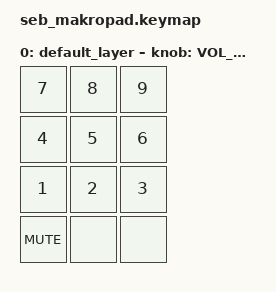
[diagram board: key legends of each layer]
#include <behaviors.dtsi>
#include <dt-bindings/zmk/keys.h>

/ {
    keymap {
        compatible = "zmk,keymap";

        default_layer {
            bindings = <
                &kp N7    &kp N8    &kp N9     // Reihe 0 (Oben)
                &kp N4    &kp N5    &kp N6     // Reihe 1 (Mitte)
                &kp N1    &kp N2    &kp N3     // Reihe 2 (Unten)
                &kp C_MUTE &none     &none     // Reihe 3 (Pin 22 ist Button, Rest leer)
            >;

            sensor-bindings = <&inc_dec_kp C_VOL_UP C_VOL_DN>; // Drehen = Lautstärke
        };
    };
};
